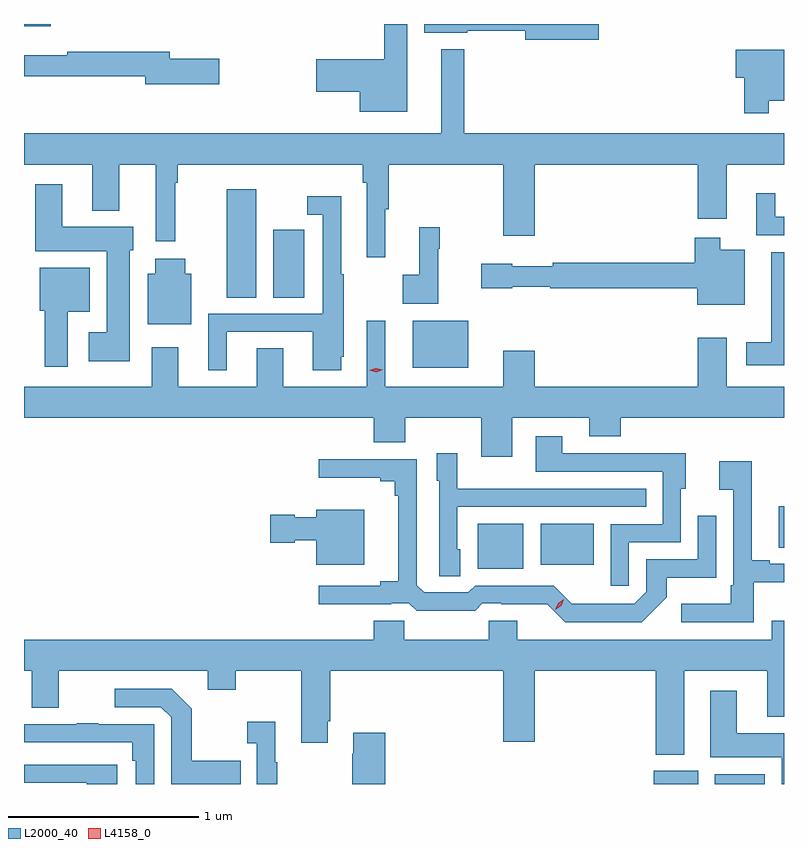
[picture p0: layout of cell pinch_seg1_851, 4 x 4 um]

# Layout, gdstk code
import gdstk
lib = gdstk.Library(unit=1e-6, precision=1e-09)
def R(c, l, rs):  # rectangles x0, y0, x1, y1
    for r in rs: c.add(gdstk.rectangle(r[:2], r[2:], *l))
def P(c, l, *ps):  # polygons
    for p in ps: c.add(gdstk.Polygon(p, *l))
L2000_40 = (2000, 40)
L4158_0 = (4158, 0)

pinch_seg1_851 = lib.new_cell('pinch_seg1_851')
R(pinch_seg1_851, L2000_40, [(465.5,516.504,465.733,516.574), (465.821,516.504,466.084,516.556), (464.573,517.637,464.812,517.873), (464.906,517.658,465.184,517.873), (466.157,517.747,466.185,517.966), (464.231,518.696,464.524,518.941), (463.253,519.064,463.408,519.634), (463.496,519.064,463.66,519.421), (462.185,520.493,462.325,520.504)])
P(pinch_seg1_851, L2000_40, [(465.211,520.504),(464.291,520.504),(464.291,520.457),(464.518,520.457),(464.518,520.468),(464.822,520.468),(464.822,520.421),(465.211,520.421)],
  [(464.203,520.504),(464.082,520.504),(464.082,520.319),(463.722,520.319),(463.722,520.148),(463.952,520.148),(463.952,520.043),(464.203,520.043)],
  [(466.105,520.1),(466.185,520.1),(466.185,520.369),(465.932,520.369),(465.932,520.222),(465.976,520.222),(465.976,520.035),(466.105,520.035)],
  [(463.213,520.322),(462.952,520.322),(462.952,520.358),(462.412,520.358),(462.412,520.339),(462.185,520.339),(462.185,520.23),(462.824,520.23),(462.824,520.187),(463.213,520.187)],
  [(464.503,520.372),(464.381,520.372),(464.381,519.928),(462.185,519.928),(462.185,519.764),(462.545,519.764),(462.545,519.521),(462.685,519.521),(462.685,519.764),(462.878,519.764),(462.878,519.36),(462.98,519.36),(462.98,519.668),(462.995,519.668),(462.995,519.764),(463.969,519.764),(463.969,519.668),(463.988,519.668),(463.988,519.276),(464.087,519.276),(464.087,519.528),(464.105,519.528),(464.105,519.764),(464.708,519.764),(464.708,519.39),(464.872,519.39),(464.872,519.764),(465.731,519.764),(465.731,519.48),(465.883,519.48),(465.883,519.764),(466.185,519.764),(466.185,519.928),(464.503,519.928)],
  [(462.742,519.312),(462.76,519.312),(462.76,519.436),(462.385,519.436),(462.385,519.661),(462.245,519.661),(462.245,519.308),(462.62,519.308),(462.62,518.881),(462.525,518.881),(462.525,518.729),(462.742,518.729)],
  [(466.185,519.489),(466.138,519.489),(466.138,519.613),(466.04,519.613),(466.04,519.393),(466.185,519.393)],
  [(463.252,518.883),(463.706,518.883),(463.706,518.682),(463.855,518.682),(463.855,518.754),(463.867,518.754),(463.867,519.188),(463.855,519.188),(463.855,519.598),(463.677,519.598),(463.677,519.501),(463.758,519.501),(463.758,518.979),(463.154,518.979),(463.154,518.682),(463.252,518.682)],
  [(464.364,519.32),(464.374,519.32),(464.374,519.433),(464.264,519.433),(464.264,519.185),(464.178,519.185),(464.178,519.032),(464.364,519.032)],
  [(465.979,519.316),(465.85,519.316),(465.85,519.379),(465.716,519.379),(465.716,519.248),(464.968,519.248),(464.968,519.229),(464.754,519.229),(464.754,519.241),(464.592,519.241),(464.592,519.112),(464.754,519.112),(464.754,519.12),(464.954,519.12),(464.954,519.112),(465.728,519.112),(465.728,519.026),(465.979,519.026)],
  [(466.185,519.304),(466.118,519.304),(466.118,518.83),(465.987,518.83),(465.987,518.708),(466.185,518.708)],
  [(463.066,519.19),(463.033,519.19),(463.033,519.268),(462.875,519.268),(462.875,519.19),(462.836,519.19),(462.836,518.924),(463.066,518.924)],
  [(462.415,518.99),(462.532,518.99),(462.532,519.22),(462.269,519.22),(462.269,518.994),(462.293,518.994),(462.293,518.7),(462.415,518.7)],
  [(464.755,518.432),(465.161,518.432),(465.161,518.333),(465.325,518.333),(465.325,518.432),(466.185,518.432),(466.185,518.596),(465.883,518.596),(465.883,518.854),(465.731,518.854),(465.731,518.596),(464.872,518.596),(464.872,518.785),(464.708,518.785),(464.708,518.596),(464.086,518.596),(464.086,518.941),(463.989,518.941),(463.989,518.596),(463.549,518.596),(463.549,518.798),(463.409,518.798),(463.409,518.596),(462.997,518.596),(462.997,518.803),(462.857,518.803),(462.857,518.596),(462.185,518.596),(462.185,518.432),(464.027,518.432),(464.027,518.304),(464.191,518.304),(464.191,518.432),(464.591,518.432),(464.591,518.226),(464.755,518.226)],
  [(465.369,517.776),(465.642,517.776),(465.642,518.058),(465.667,518.058),(465.667,518.246),(465.449,518.246),(465.449,518.244),(465.019,518.244),(465.019,518.335),(464.879,518.335),(464.879,518.148),(465.546,518.148),(465.546,517.872),(465.273,517.872),(465.273,517.548),(465.369,517.548)],
  [(464.482,517.74),(464.466,517.74),(464.466,517.962),(465.461,517.962),(465.461,518.058),(464.783,518.058),(464.783,518.059),(464.466,518.059),(464.466,518.245),(464.357,518.245),(464.357,518.1),(464.37,518.1),(464.37,517.597),(464.482,517.597)],
  [(465.567,517.487),(465.567,517.589),(465.828,517.589),(465.828,517.915),(465.732,517.915),(465.732,517.686),(465.459,517.686),(465.459,517.515),(465.396,517.452),(465.172,517.452),(465.172,517.454),(465.068,517.454),(464.973,517.548),(464.559,517.548),(464.523,517.512),(464.292,517.512),(464.253,517.551),(464.253,518.214),(463.737,518.214),(463.737,518.117),(464.06,518.117),(464.06,518.098),(464.137,518.098),(464.137,518.021),(464.156,518.021),(464.156,517.571),(464.06,517.571),(464.06,517.548),(463.737,517.548),(463.737,517.451),(464.117,517.451),(464.117,517.455),(464.211,517.455),(464.251,517.416),(464.559,517.416),(464.598,517.455),(464.698,517.455),(464.698,517.451),(464.939,517.451),(465.033,517.356),(465.436,517.356)],
  [(466.027,517.565),(466.185,517.565),(466.185,517.662),(466.111,517.662),(466.111,517.681),(466.015,517.681),(466.015,518.203),(465.843,518.203),(465.843,518.054),(465.918,518.054),(465.918,517.549),(465.906,517.549),(465.906,517.453),(465.645,517.453),(465.645,517.356),(466.027,517.356)],
  [(463.975,517.948),(463.724,517.948),(463.724,517.909),(463.611,517.909),(463.611,517.922),(463.482,517.922),(463.482,517.775),(463.611,517.775),(463.611,517.787),(463.724,517.787),(463.724,517.658),(463.975,517.658)],
  [(465.661,517.1),(466.097,517.1),(466.097,516.857),(466.185,516.857),(466.185,517.363),(466.121,517.363),(466.121,517.264),(464.782,517.264),(464.782,517.362),(464.632,517.362),(464.632,517.264),(464.187,517.264),(464.187,517.362),(464.027,517.362),(464.027,517.264),(462.185,517.264),(462.185,517.1),(462.227,517.1),(462.227,516.906),(462.367,516.906),(462.367,517.1),(463.151,517.1),(463.151,517.001),(463.299,517.001),(463.299,517.1),(463.643,517.1),(463.643,516.722),(463.783,516.722),(463.783,516.835),(463.796,516.835),(463.796,517.1),(464.708,517.1),(464.708,516.726),(464.872,516.726),(464.872,517.1),(465.509,517.1),(465.509,516.659),(465.661,516.659)],
  [(463.325,516.627),(463.069,516.627),(463.069,516.899),(462.963,517.005),(462.663,517.005),(462.663,516.909),(462.906,516.909),(462.96,516.855),(462.96,516.504),(463.325,516.504)],
  [(466.185,516.772),(465.937,516.772),(465.937,516.996),(465.797,516.996),(465.797,516.644),(466.172,516.644),(466.172,516.504),(466.185,516.504)],
  [(463.519,516.619),(463.507,516.619),(463.507,516.832),(463.359,516.832),(463.359,516.719),(463.41,516.719),(463.41,516.504),(463.519,516.504)],
  [(462.87,516.819),(462.575,516.819),(462.575,516.824),(462.463,516.824),(462.463,516.819),(462.185,516.819),(462.185,516.723),(462.754,516.723),(462.754,516.626),(462.774,516.626),(462.774,516.504),(462.87,516.504)],
  [(464.087,516.775),(463.919,516.775),(463.919,516.662),(463.912,516.662),(463.912,516.504),(464.087,516.504)],
  [(462.676,516.606),(462.185,516.606),(462.185,516.51),(462.515,516.51),(462.515,516.504),(462.676,516.504)])
P(pinch_seg1_851, L4158_0, [(464.981,517.422),(464.981,517.422),(464.996,517.456),(465.027,517.477),(465.027,517.477),(465.027,517.477),(465.012,517.443),(464.981,517.422)],
  [(464.038,518.672),(464.003,518.681),(464.003,518.681),(464.003,518.681),(464.037,518.692),(464.072,518.683),(464.072,518.683),(464.072,518.683)])

lib.write_gds('pinch_seg1_851.gds')
